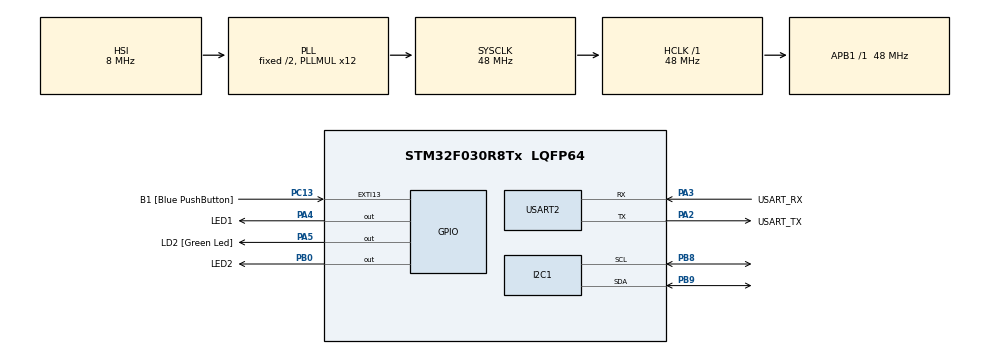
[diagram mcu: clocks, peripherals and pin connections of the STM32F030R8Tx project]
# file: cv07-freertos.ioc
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FREERTOS.Queues01=xVisualQueue,16,int16_t,0,Dynamic,NULL,NULL
FREERTOS.Tasks01=defaultTask,0,128,StartDefaultTask,Default,NULL,Dynamic,NULL,NULL;xVisualTask,0,128,StartVisualTask,Default,NULL,Dynamic,NULL,NULL;xAcceleroTask,0,128,StartAcceleroTask,Default,NULL,Dynamic,NULL,NULL
FREERTOS.configUSE_NEWLIB_REENTRANT=1
Mcu.Family=STM32F0
Mcu.Name=STM32F030R8Tx
Mcu.Package=LQFP64
NVIC.TIM14_IRQn=true\:3\:0\:false\:false\:true\:false\:false\:true\:true
NVIC.TimeBase=TIM14_IRQn
NVIC.TimeBaseIP=TIM14
PA13.GPIO_Label=TMS
PA13.Mode=Serial_Wire
PA13.Signal=SYS_SWDIO
PA14.GPIO_Label=TCK
PA14.Mode=Serial_Wire
PA14.Signal=SYS_SWCLK
PA2.GPIO_Label=USART_TX
PA2.GPIO_Mode=GPIO_MODE_AF_PP
PA2.GPIO_PuPd=GPIO_NOPULL
PA2.GPIO_Speed=GPIO_SPEED_FREQ_LOW
PA2.Mode=Asynchronous
PA2.Signal=USART2_TX
PA3.GPIO_Label=USART_RX
PA3.GPIO_Mode=GPIO_MODE_AF_PP
PA3.GPIO_PuPd=GPIO_NOPULL
PA3.GPIO_Speed=GPIO_SPEED_FREQ_LOW
PA3.Mode=Asynchronous
PA3.Signal=USART2_RX
PA4.GPIO_Label=LED1
PA4.Signal=GPIO_Output
PA5.GPIO_Label=LD2 [Green Led]
PA5.GPIO_Mode=GPIO_MODE_OUTPUT_PP
PA5.GPIO_PuPd=GPIO_NOPULL
PA5.GPIO_Speed=GPIO_SPEED_FREQ_LOW
PA5.Signal=GPIO_Output
PB0.GPIO_Label=LED2
PB0.Signal=GPIO_Output
PB8.Mode=I2C
PB8.Signal=I2C1_SCL
PB9.Mode=I2C
PB9.Signal=I2C1_SDA
PC13.GPIO_Label=B1 [Blue PushButton]
PC13.GPIO_ModeDefaultEXTI=GPIO_MODE_IT_FALLING
PC13.Signal=GPXTI13
PC14-OSC32_IN.Mode=LSE-External-Oscillator
PC14-OSC32_IN.Signal=RCC_OSC32_IN
PC15-OSC32_OUT.Mode=LSE-External-Oscillator
PC15-OSC32_OUT.Signal=RCC_OSC32_OUT
PF0-OSC_IN.Mode=HSE-External-Clock-Source
PF0-OSC_IN.Signal=RCC_OSC_IN
PF1-OSC_OUT.Signal=RCC_OSC_OUT
ProjectManager.HeapSize=0x200
ProjectManager.StackSize=0x400
ProjectManager.TargetToolchain=STM32CubeIDE
RCC.AHBFreq_Value=48000000
RCC.APB1Freq_Value=48000000
RCC.APB1TimFreq_Value=48000000
RCC.HCLKFreq_Value=48000000
RCC.PLLMUL=RCC_PLL_MUL12
RCC.SYSCLKFreq_VALUE=48000000
RCC.SYSCLKSource=RCC_SYSCLKSOURCE_PLLCLK
USART2.VirtualMode-Asynchronous=VM_ASYNC
VP_FREERTOS_VS_CMSIS_V1.Mode=CMSIS_V1
VP_SYS_VS_tim14.Mode=TIM14
board=NUCLEO-F030R8

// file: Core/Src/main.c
/* USER CODE BEGIN Header */
/**
 ******************************************************************************
 * @file           : main.c
 * @brief          : Main program body
 ******************************************************************************
 * @attention
 *
 * Copyright (c) 2023 STMicroelectronics.
 * All rights reserved.
 *
 * This software is licensed under terms that can be found in the LICENSE file
 * in the root directory of this software component.
 * If no LICENSE file comes with this software, it is provided AS-IS.
 *
 ******************************************************************************
 */
/* USER CODE END Header */
#include "main.h"
#include "cmsis_os.h"

/* USER CODE BEGIN Includes */
#include <stdio.h>
/* USER CODE END Includes */

I2C_HandleTypeDef hi2c1;

UART_HandleTypeDef huart2;

osThreadId defaultTaskHandle;
osThreadId xVisualTaskHandle;
osThreadId xAcceleroTaskHandle;
osMessageQId xVisualQueueHandle;

void SystemClock_Config(void);
static void MX_GPIO_Init(void);
static void MX_USART2_UART_Init(void);
static void MX_I2C1_Init(void);
void StartDefaultTask(void const *argument);
void StartVisualTask(void const *argument);
void StartAcceleroTask(void const *argument);

/* USER CODE BEGIN PFP */
static int32_t platform_write(void *handle, uint8_t reg, uint8_t *bufp,
		uint16_t len) {
	HAL_I2C_Mem_Write(handle, LIS2DW12_I2C_ADD_H, reg, I2C_MEMADD_SIZE_8BIT,
			bufp, len, 1000);
	return 0;
}
static int32_t platform_read(void *handle, uint8_t reg, uint8_t *bufp,
		uint16_t len) {
	HAL_I2C_Mem_Read(handle, LIS2DW12_I2C_ADD_H, reg, I2C_MEMADD_SIZE_8BIT,
			bufp, len, 1000);
	return 0;
}

static stmdev_ctx_t lis2dw12 = { .write_reg = platform_write, .read_reg =
		platform_read, .handle = &hi2c1, };
/* USER CODE END PFP */

int main(void) {

	/* MCU Configuration--------------------------------------------------------*/

	/* Reset of all peripherals, Initializes the Flash interface and the Systick. */
	HAL_Init();

	/* Configure the system clock */
	SystemClock_Config();

	/* Initialize all configured peripherals */
	MX_GPIO_Init();
	MX_USART2_UART_Init();
	MX_I2C1_Init();

	/* Create the queue(s) */
	/* definition and creation of xVisualQueue */
	osMessageQDef(xVisualQueue, 16, int16_t);
	xVisualQueueHandle = osMessageCreate(osMessageQ(xVisualQueue), NULL);

	/* Create the thread(s) */
	/* definition and creation of defaultTask */
	osThreadDef(defaultTask, StartDefaultTask, osPriorityNormal, 0, 128);
	defaultTaskHandle = osThreadCreate(osThread(defaultTask), NULL);

	/* definition and creation of xVisualTask */
	osThreadDef(xVisualTask, StartVisualTask, osPriorityNormal, 0, 128);
	xVisualTaskHandle = osThreadCreate(osThread(xVisualTask), NULL);

	/* definition and creation of xAcceleroTask */
	osThreadDef(xAcceleroTask, StartAcceleroTask, osPriorityNormal, 0, 128);
	xAcceleroTaskHandle = osThreadCreate(osThread(xAcceleroTask), NULL);

	/* Start scheduler */
	osKernelStart();

	/* We should never get here as control is now taken by the scheduler */
	/* Infinite loop */
	while (1) {

	}
}

void SystemClock_Config(void) {
	RCC_OscInitTypeDef RCC_OscInitStruct = { 0 };
	RCC_ClkInitTypeDef RCC_ClkInitStruct = { 0 };
	RCC_PeriphCLKInitTypeDef PeriphClkInit = { 0 };

	/** Initializes the RCC Oscillators according to the specified parameters
	 * in the RCC_OscInitTypeDef structure.
	 */
	RCC_OscInitStruct.OscillatorType = RCC_OSCILLATORTYPE_HSI;
	RCC_OscInitStruct.HSIState = RCC_HSI_ON;
	RCC_OscInitStruct.HSICalibrationValue = RCC_HSICALIBRATION_DEFAULT;
	RCC_OscInitStruct.PLL.PLLState = RCC_PLL_ON;
	RCC_OscInitStruct.PLL.PLLSource = RCC_PLLSOURCE_HSI;
	RCC_OscInitStruct.PLL.PLLMUL = RCC_PLL_MUL12;
	RCC_OscInitStruct.PLL.PREDIV = RCC_PREDIV_DIV1;
	if (HAL_RCC_OscConfig(&RCC_OscInitStruct) != HAL_OK) {
		Error_Handler();
	}

	/** Initializes the CPU, AHB and APB buses clocks
	 */
	RCC_ClkInitStruct.ClockType = RCC_CLOCKTYPE_HCLK | RCC_CLOCKTYPE_SYSCLK
			| RCC_CLOCKTYPE_PCLK1;
	RCC_ClkInitStruct.SYSCLKSource = RCC_SYSCLKSOURCE_PLLCLK;
	RCC_ClkInitStruct.AHBCLKDivider = RCC_SYSCLK_DIV1;
	RCC_ClkInitStruct.APB1CLKDivider = RCC_HCLK_DIV1;

	if (HAL_RCC_ClockConfig(&RCC_ClkInitStruct, FLASH_LATENCY_1) != HAL_OK) {
		Error_Handler();
	}
	PeriphClkInit.PeriphClockSelection = RCC_PERIPHCLK_I2C1;
	PeriphClkInit.I2c1ClockSelection = RCC_I2C1CLKSOURCE_HSI;
	if (HAL_RCCEx_PeriphCLKConfig(&PeriphClkInit) != HAL_OK) {
		Error_Handler();
	}
}

static void MX_I2C1_Init(void) {

	hi2c1.Instance = I2C1;
	hi2c1.Init.Timing = 0x2000090E;
	hi2c1.Init.OwnAddress1 = 0;
	hi2c1.Init.AddressingMode = I2C_ADDRESSINGMODE_7BIT;
	hi2c1.Init.DualAddressMode = I2C_DUALADDRESS_DISABLE;
	hi2c1.Init.OwnAddress2 = 0;
	hi2c1.Init.OwnAddress2Masks = I2C_OA2_NOMASK;
	hi2c1.Init.GeneralCallMode = I2C_GENERALCALL_DISABLE;
	hi2c1.Init.NoStretchMode = I2C_NOSTRETCH_DISABLE;
	if (HAL_I2C_Init(&hi2c1) != HAL_OK) {
		Error_Handler();
	}

	/** Configure Analogue filter
	 */
	if (HAL_I2CEx_ConfigAnalogFilter(&hi2c1, I2C_ANALOGFILTER_ENABLE)
			!= HAL_OK) {
		Error_Handler();
	}

	/** Configure Digital filter
	 */
	if (HAL_I2CEx_ConfigDigitalFilter(&hi2c1, 0) != HAL_OK) {
		Error_Handler();
	}

}

static void MX_USART2_UART_Init(void) {

	huart2.Instance = USART2;
	huart2.Init.BaudRate = 38400;
	huart2.Init.WordLength = UART_WORDLENGTH_8B;
	huart2.Init.StopBits = UART_STOPBITS_1;
	huart2.Init.Parity = UART_PARITY_NONE;
	huart2.Init.Mode = UART_MODE_TX_RX;
	huart2.Init.HwFlowCtl = UART_HWCONTROL_NONE;
	huart2.Init.OverSampling = UART_OVERSAMPLING_16;
	huart2.Init.OneBitSampling = UART_ONE_BIT_SAMPLE_DISABLE;
	huart2.AdvancedInit.AdvFeatureInit = UART_ADVFEATURE_NO_INIT;
	if (HAL_UART_Init(&huart2) != HAL_OK) {
		Error_Handler();
	}

}

static void MX_GPIO_Init(void) {
	GPIO_InitTypeDef GPIO_InitStruct = { 0 };

	/* GPIO Ports Clock Enable */
	__HAL_RCC_GPIOC_CLK_ENABLE();
	__HAL_RCC_GPIOF_CLK_ENABLE();
	__HAL_RCC_GPIOA_CLK_ENABLE();
	__HAL_RCC_GPIOB_CLK_ENABLE();

	/*Configure GPIO pin Output Level */
	HAL_GPIO_WritePin(GPIOA, LED1_Pin | LD2_Pin, GPIO_PIN_RESET);

	/*Configure GPIO pin Output Level */
	HAL_GPIO_WritePin(LED2_GPIO_Port, LED2_Pin, GPIO_PIN_RESET);

	/*Configure GPIO pin : B1_Pin */
	GPIO_InitStruct.Pin = B1_Pin;
	GPIO_InitStruct.Mode = GPIO_MODE_IT_FALLING;
	GPIO_InitStruct.Pull = GPIO_NOPULL;
	HAL_GPIO_Init(B1_GPIO_Port, &GPIO_InitStruct);

	/*Configure GPIO pins : LED1_Pin LD2_Pin */
	GPIO_InitStruct.Pin = LED1_Pin | LD2_Pin;
	GPIO_InitStruct.Mode = GPIO_MODE_OUTPUT_PP;
	GPIO_InitStruct.Pull = GPIO_NOPULL;
	GPIO_InitStruct.Speed = GPIO_SPEED_FREQ_LOW;
	HAL_GPIO_Init(GPIOA, &GPIO_InitStruct);

	/*Configure GPIO pin : LED2_Pin */
	GPIO_InitStruct.Pin = LED2_Pin;
	GPIO_InitStruct.Mode = GPIO_MODE_OUTPUT_PP;
	GPIO_InitStruct.Pull = GPIO_NOPULL;
	GPIO_InitStruct.Speed = GPIO_SPEED_FREQ_LOW;
	HAL_GPIO_Init(LED2_GPIO_Port, &GPIO_InitStruct);

}

void StartDefaultTask(void const *argument) {
	for (;;) {
		osDelay(1);
	}
}

void StartVisualTask(void const *argument) {
	/* USER CODE BEGIN StartVisualTask */

	int16_t msg;

	/* Infinite loop */
	for (;;) {
		if (xQueueReceive(xVisualQueueHandle, &msg, portMAX_DELAY)) {
			// If a value was read light up a corresponding LED
			uint8_t led = 0;

			if(msg<-1000) led = 1;
			else if(msg>1000) led = 2;

			HAL_GPIO_WritePin(LED1_GPIO_Port, LED1_Pin, led==1);
			HAL_GPIO_WritePin(LED2_GPIO_Port, LED2_Pin, led==2);
		}
	}
	/* USER CODE END StartVisualTask */
}

void StartAcceleroTask(void const *argument) {
	/* USER CODE BEGIN StartAcceleroTask */

	//int16_t values[] = {0, -5000, 0, 5000};

	// Check device ID
	uint8_t whoamI = 0;
	lis2dw12_device_id_get(&lis2dw12, &whoamI);
	printf("LIS2DW12_ID %s\n", (whoamI == LIS2DW12_ID) ? "OK" : "FAIL");

	if(whoamI != LIS2DW12_ID){
		while(1){}
	}

	/* Infinite loop */
	for (;;) {

		// Send values from the defined array in a loop
		for (uint8_t i = 0; i < 4; i++) {
			xQueueSend(xVisualQueueHandle, values+i, 0);
			osDelay(300);
		}

	}
	/* USER CODE END StartAcceleroTask */
}

void HAL_TIM_PeriodElapsedCallback(TIM_HandleTypeDef *htim) {
	if (htim->Instance == TIM14) {
		HAL_IncTick();
	}
}

void Error_Handler(void) {
	__disable_irq();
	while (1) {
	}
}
